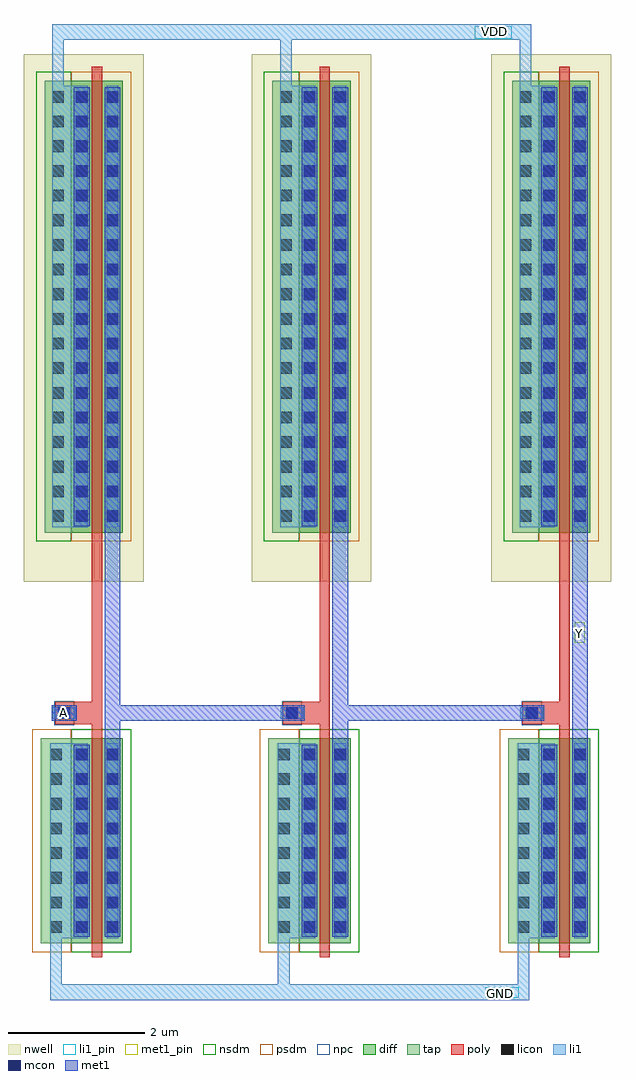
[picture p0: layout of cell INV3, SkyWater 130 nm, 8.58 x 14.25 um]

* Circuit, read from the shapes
.subckt INV3 A GND VDD Y
XM1 n1 A GND GND sky130_fd_pr__nfet_01v8 w=3 l=0.15
XM2 n2 n1 GND GND sky130_fd_pr__nfet_01v8 w=3 l=0.15
XM3 Y n2 GND GND sky130_fd_pr__nfet_01v8 w=3 l=0.15
XM4 n1 A VDD VDD sky130_fd_pr__pfet_01v8 w=6.6 l=0.15
XM5 n2 n1 VDD VDD sky130_fd_pr__pfet_01v8 w=6.6 l=0.15
XM6 Y n2 VDD VDD sky130_fd_pr__pfet_01v8 w=6.6 l=0.15
.ends

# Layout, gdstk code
import gdstk
lib = gdstk.Library(unit=1e-6, precision=1e-09)
def R(c, l, rs):  # rectangles x0, y0, x1, y1
    for r in rs: c.add(gdstk.rectangle(r[:2], r[2:], *l))
def A(c, l, x, y, w, h, nx, ny, dx, dy):  # array of equal rectangles
    R(c, l, [(x+i*dx, y+j*dy, x+i*dx+w, y+j*dy+h) for i in range(nx) for j in range(ny)])
nwell = (64, 20)
diff = (65, 20)
tap = (65, 44)
poly = (66, 20)
licon = (66, 44)
li1_pin = (67, 16)
li1 = (67, 20)
mcon = (67, 44)
met1_pin = (68, 16)
met1 = (68, 20)
nsdm = (93, 44)
psdm = (94, 20)
npc = (95, 20)

inv3 = lib.new_cell('INV3')
R(inv3, nwell, [(-1.445,-0.72,0.305,6.98), (1.88,-0.72,3.63,6.98), (5.38,-0.72,7.13,6.98)])
R(inv3, diff, [(-0.75,-6,0,-3), (2.575,-6,3.325,-3), (6.075,-6,6.825,-3), (-0.75,0,0,6.6), (2.575,0,3.325,6.6), (6.075,0,6.825,6.6)])
R(inv3, tap, [(-1.2,-6,-0.75,-3), (2.125,-6,2.575,-3), (5.625,-6,6.075,-3), (-1.14,0,-0.75,6.6), (2.185,0,2.575,6.6), (5.685,0,6.075,6.6)])
R(inv3, poly, [(-0.45,-6.2,-0.3,-2.8), (2.875,-6.2,3.025,-2.8), (6.375,-6.2,6.525,-2.8), (-0.99,-2.8,-0.72,-2.47), (-0.72,-2.8,-0.45,-2.47), (-0.45,-2.8,-0.3,-0.2), (2.335,-2.8,2.605,-2.47), (2.605,-2.8,2.875,-2.47), (2.875,-2.8,3.025,-0.2), (5.835,-2.8,6.105,-2.47), (6.105,-2.8,6.375,-2.47), (6.375,-2.8,6.525,-0.2), (-0.45,-0.2,-0.3,6.8), (2.875,-0.2,3.025,6.8), (6.375,-0.2,6.525,6.8)])
A(inv3, licon, -1.06, -5.845, 0.17, 0.17, 1, 8, 0, 0.36)
A(inv3, licon, -0.685, -5.845, 0.17, 0.17, 1, 8, 0, 0.36)
A(inv3, licon, -0.235, -5.845, 0.17, 0.17, 1, 8, 0, 0.36)
A(inv3, licon, 2.265, -5.845, 0.17, 0.17, 1, 8, 0, 0.36)
A(inv3, licon, 2.64, -5.845, 0.17, 0.17, 1, 8, 0, 0.36)
A(inv3, licon, 3.09, -5.845, 0.17, 0.17, 1, 8, 0, 0.36)
A(inv3, licon, 5.765, -5.845, 0.17, 0.17, 1, 8, 0, 0.36)
A(inv3, licon, 6.14, -5.845, 0.17, 0.17, 1, 8, 0, 0.36)
A(inv3, licon, 6.59, -5.845, 0.17, 0.17, 1, 8, 0, 0.36)
A(inv3, licon, -1.03, 0.155, 0.17, 0.17, 1, 18, 0, 0.36)
A(inv3, licon, -0.685, 0.155, 0.17, 0.17, 1, 18, 0, 0.36)
A(inv3, licon, -0.235, 0.155, 0.17, 0.17, 1, 18, 0, 0.36)
A(inv3, licon, 2.295, 0.155, 0.17, 0.17, 1, 18, 0, 0.36)
A(inv3, licon, 2.64, 0.155, 0.17, 0.17, 1, 18, 0, 0.36)
A(inv3, licon, 3.09, 0.155, 0.17, 0.17, 1, 18, 0, 0.36)
A(inv3, licon, 5.795, 0.155, 0.17, 0.17, 1, 18, 0, 0.36)
A(inv3, licon, 6.14, 0.155, 0.17, 0.17, 1, 18, 0, 0.36)
A(inv3, licon, 6.59, 0.155, 0.17, 0.17, 1, 18, 0, 0.36)
R(inv3, licon, [(-0.94,-2.72,-0.77,-2.55), (2.385,-2.72,2.555,-2.55), (5.885,-2.72,6.055,-2.55)])
R(inv3, li1_pin, [(5.29,-6.795,5.78,-6.64), (5.14,7.21,5.675,7.39)])
R(inv3, li1, [(-1.06,-6.825,5.935,-6.595), (-1.06,-6.595,-0.89,-5.925), (2.265,-6.595,2.435,-5.925), (5.765,-6.595,5.935,-5.925), (-1.06,-5.925,-0.89,-3.075), (-0.89,-5.925,-0.685,-3.075), (-0.685,-5.925,-0.515,-3.075), (-0.235,-5.925,-0.065,-3.075), (2.265,-5.925,2.435,-3.075), (2.435,-5.925,2.64,-3.075), (2.64,-5.925,2.81,-3.075), (3.09,-5.925,3.26,-3.075), (5.765,-5.925,5.935,-3.075), (5.935,-5.925,6.14,-3.075), (6.14,-5.925,6.31,-3.075), (6.59,-5.925,6.76,-3.075), (-1.02,-2.72,-0.69,-2.55), (2.305,-2.72,2.635,-2.55), (5.805,-2.72,6.135,-2.55), (-1.03,0.075,-0.86,6.525), (-0.86,0.075,-0.685,6.525), (-0.685,0.075,-0.515,6.525), (-0.235,0.075,-0.065,6.525), (2.295,0.075,2.465,6.525), (2.465,0.075,2.64,6.525), (2.64,0.075,2.81,6.525), (3.09,0.075,3.26,6.525), (5.795,0.075,5.965,6.525), (5.965,0.075,6.14,6.525), (6.14,0.075,6.31,6.525), (6.59,0.075,6.76,6.525), (-1.03,6.525,-0.86,7.195), (2.295,6.525,2.465,7.195), (5.795,6.525,5.965,7.195), (-1.03,7.195,5.965,7.425)])
A(inv3, mcon, -0.685, -5.845, 0.17, 0.17, 1, 8, 0, 0.36)
A(inv3, mcon, -0.235, -5.845, 0.17, 0.17, 1, 8, 0, 0.36)
A(inv3, mcon, 2.64, -5.845, 0.17, 0.17, 1, 8, 0, 0.36)
A(inv3, mcon, 3.09, -5.845, 0.17, 0.17, 1, 8, 0, 0.36)
A(inv3, mcon, 6.14, -5.845, 0.17, 0.17, 1, 8, 0, 0.36)
A(inv3, mcon, 6.59, -5.845, 0.17, 0.17, 1, 8, 0, 0.36)
A(inv3, mcon, -0.685, 0.155, 0.17, 0.17, 1, 18, 0, 0.36)
A(inv3, mcon, -0.235, 0.155, 0.17, 0.17, 1, 18, 0, 0.36)
A(inv3, mcon, 2.64, 0.155, 0.17, 0.17, 1, 18, 0, 0.36)
A(inv3, mcon, 3.09, 0.155, 0.17, 0.17, 1, 18, 0, 0.36)
A(inv3, mcon, 6.14, 0.155, 0.17, 0.17, 1, 18, 0, 0.36)
A(inv3, mcon, 6.59, 0.155, 0.17, 0.17, 1, 18, 0, 0.36)
R(inv3, mcon, [(-0.94,-2.72,-0.77,-2.55), (2.385,-2.72,2.555,-2.55), (5.885,-2.72,6.055,-2.55)])
R(inv3, met1_pin, [(-0.95,-2.735,-0.75,-2.535), (6.595,-1.61,6.745,-1.31)])
R(inv3, met1, [(-0.715,-5.905,-0.485,-3.095), (-0.265,-5.905,-0.035,-3.095), (2.61,-5.905,2.84,-3.095), (3.06,-5.905,3.29,-3.095), (6.11,-5.905,6.34,-3.095), (6.56,-5.905,6.79,-3.095), (-0.265,-3.095,-0.035,0.095), (3.06,-3.095,3.29,0.095), (6.56,-3.095,6.79,0.095), (-1.04,-2.75,-0.67,-2.52), (-1.038,-2.75,-0.672,-2.52), (-0.035,-2.75,2.655,-2.525), (2.287,-2.75,2.653,-2.52), (3.28,-2.75,6.155,-2.52), (5.787,-2.75,6.153,-2.52), (-0.715,0.095,-0.485,6.505), (-0.265,0.095,-0.035,6.505), (2.61,0.095,2.84,6.505), (3.06,0.095,3.29,6.505), (6.11,0.095,6.34,6.505), (6.56,0.095,6.79,6.505)])
R(inv3, nsdm, [(-0.75,-6.125,0.125,-2.875), (2.575,-6.125,3.45,-2.875), (6.075,-6.125,6.95,-2.875), (-1.265,-0.125,-0.75,6.725), (2.06,-0.125,2.575,6.725), (5.56,-0.125,6.075,6.725)])
R(inv3, psdm, [(-1.325,-6.125,-0.75,-2.875), (2,-6.125,2.575,-2.875), (5.5,-6.125,6.075,-2.875), (-0.75,-0.125,0.125,6.725), (2.575,-0.125,3.45,6.725), (6.075,-0.125,6.95,6.725)])
R(inv3, npc, [(-1,-2.81,-0.71,-2.46), (2.325,-2.81,2.615,-2.46), (5.825,-2.81,6.115,-2.46)])
inv3.add(gdstk.Label('GND', (5.51,-6.725), layer=67, texttype=5))
inv3.add(gdstk.Label('VDD', (5.425,7.31), layer=67, texttype=5))
inv3.add(gdstk.Label('A', (-0.86,-2.63), layer=68, texttype=5))
inv3.add(gdstk.Label('Y', (6.675,-1.47), layer=68, texttype=5))

lib.write_gds('INV3.gds')
